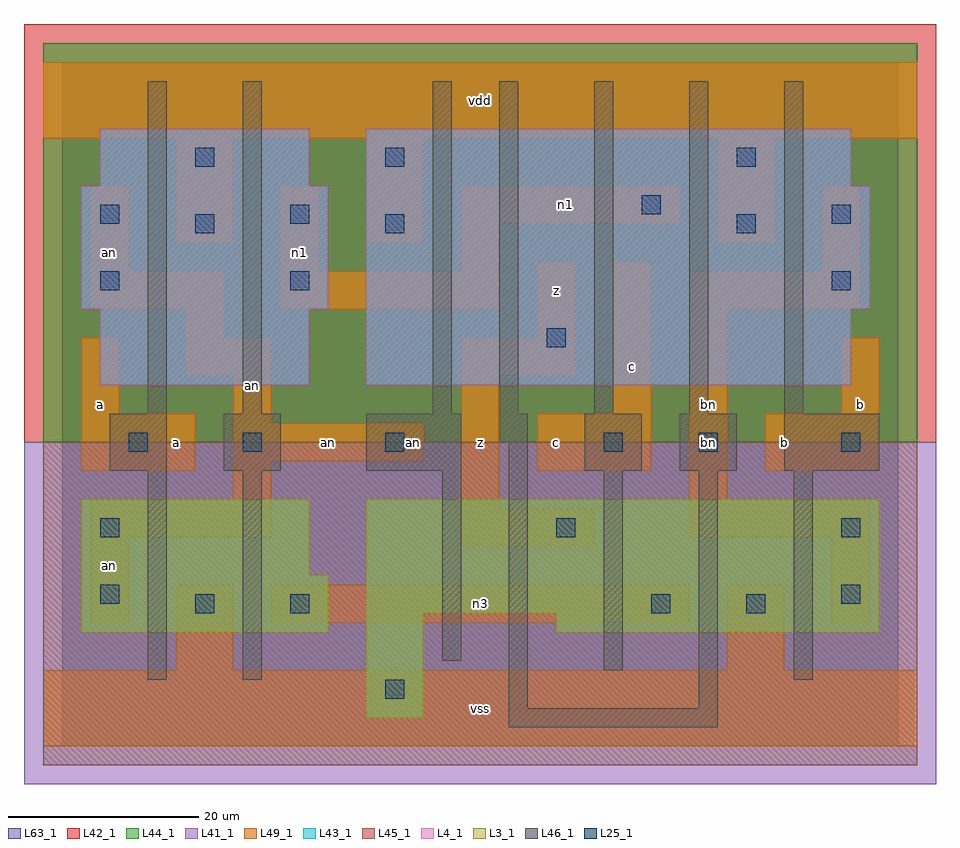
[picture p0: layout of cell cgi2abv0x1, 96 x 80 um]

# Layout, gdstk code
import gdstk
lib = gdstk.Library(unit=1e-6, precision=1e-09)
def R(c, l, rs):  # rectangles x0, y0, x1, y1
    for r in rs: c.add(gdstk.rectangle(r[:2], r[2:], *l))
def A(c, l, x, y, w, h, nx, ny, dx, dy):  # array of equal rectangles
    R(c, l, [(x+i*dx, y+j*dy, x+i*dx+w, y+j*dy+h) for i in range(nx) for j in range(ny)])
L3_1 = (3, 1)
L4_1 = (4, 1)
L25_1 = (25, 1)
L41_1 = (41, 1)
L42_1 = (42, 1)
L43_1 = (43, 1)
L44_1 = (44, 1)
L45_1 = (45, 1)
L46_1 = (46, 1)
L49_1 = (49, 1)
L63_1 = (63, 1)

cgi2abv0x1 = lib.new_cell('cgi2abv0x1')
R(cgi2abv0x1, L3_1, [(32,3,38,14), (2,12,28,18), (52,12,86,14), (32,14,86,26), (2,18,26,26)])
R(cgi2abv0x1, L4_1, [(4,38,26,46), (32,38,83,46), (2,46,28,59), (32,46,85,59), (4,59,26,65), (32,59,83,65)])
R(cgi2abv0x1, L25_1, [(34,5,36,7), (14,14,16,16), (24,14,26,16), (62,14,64,16), (72,14,74,16), (4,15,6,17), (82,15,84,17), (4,22,6,24), (52,22,54,24), (82,22,84,24), (7,31,9,33), (19,31,21,33), (34,31,36,33), (57,31,59,33), (67,31,69,33), (82,31,84,33), (51,42,53,44), (4,48,6,50), (24,48,26,50), (81,48,83,50), (14,54,16,56), (34,54,36,56), (71,54,73,56), (4,55,6,57), (24,55,26,57), (81,55,83,57), (61,56,63,58), (14,61,16,63), (34,61,36,63), (71,61,73,63)])
R(cgi2abv0x1, L41_1, [(-4,-4,92,32)])
R(cgi2abv0x1, L42_1, [(-4,32,92,76)])
R(cgi2abv0x1, L43_1, [(32,3,38,14), (2,12,28,18), (52,12,86,14), (32,14,86,26), (2,18,26,26), (4,38,26,46), (32,38,83,46), (2,46,28,59), (32,46,85,59), (4,59,26,65), (32,59,83,65)])
R(cgi2abv0x1, L44_1, [(-2,32,90,74)])
R(cgi2abv0x1, L45_1, [(-2,-2,90,32)])
A(cgi2abv0x1, L46_1, 46, 35, 2, 35, 4, 1, 10, 0)
R(cgi2abv0x1, L46_1, [(47,2,69,4), (47,4,49,32), (67,4,69,29), (9,7,11,29), (19,7,21,29), (77,7,79,29), (57,8,59,29), (40,9,42,29), (5,29,11,35), (17,29,23,35), (32,29,42,35), (55,29,61,35), (65,29,71,35), (76,29,86,35), (46,32,49,35), (9,35,11,70), (19,35,21,70), (39,35,41,70)])
R(cgi2abv0x1, L49_1, [(-2,0,90,8), (12,8,18,17), (70,8,76,17), (3,13,7,22), (22,13,66,17), (81,13,85,22), (42,21,56,25), (3,22,22,26), (66,22,85,26), (42,25,46,39), (18,26,22,30), (66,26,70,46), (2,29,14,35), (50,29,62,35), (74,29,86,35), (18,30,38,34), (18,34,22,39), (2,35,6,43), (58,35,62,51), (82,35,86,43), (13,39,22,43), (42,39,54,43), (13,43,17,46), (50,43,54,51), (3,46,17,50), (23,46,46,50), (66,46,84,50), (3,50,7,59), (23,50,27,59), (42,50,46,55), (80,50,84,59), (12,53,18,64), (32,53,38,64), (69,53,75,64), (42,55,65,59), (-2,64,90,72)])
R(cgi2abv0x1, L63_1, [(0,0,88,72)])
cgi2abv0x1.add(gdstk.Label('an', (20,38), layer=46, texttype=1))
cgi2abv0x1.add(gdstk.Label('an', (37,32), layer=46, texttype=1))
cgi2abv0x1.add(gdstk.Label('bn', (68,32), layer=49, texttype=1))
cgi2abv0x1.add(gdstk.Label('an', (5,19), layer=49, texttype=1))
cgi2abv0x1.add(gdstk.Label('a', (12,32), layer=49, texttype=1))
cgi2abv0x1.add(gdstk.Label('a', (4,36), layer=49, texttype=1))
cgi2abv0x1.add(gdstk.Label('an', (5,52), layer=49, texttype=1))
cgi2abv0x1.add(gdstk.Label('an', (28,32), layer=49, texttype=1))
cgi2abv0x1.add(gdstk.Label('n1', (25,52), layer=49, texttype=1))
cgi2abv0x1.add(gdstk.Label('vss', (44,4), layer=49, texttype=1))
cgi2abv0x1.add(gdstk.Label('n3', (44,15), layer=49, texttype=1))
cgi2abv0x1.add(gdstk.Label('z', (44,32), layer=49, texttype=1))
cgi2abv0x1.add(gdstk.Label('c', (52,32), layer=49, texttype=1))
cgi2abv0x1.add(gdstk.Label('c', (60,40), layer=49, texttype=1))
cgi2abv0x1.add(gdstk.Label('z', (52,48), layer=49, texttype=1))
cgi2abv0x1.add(gdstk.Label('n1', (53,57), layer=49, texttype=1))
cgi2abv0x1.add(gdstk.Label('vdd', (44,68), layer=49, texttype=1))
cgi2abv0x1.add(gdstk.Label('b', (76,32), layer=49, texttype=1))
cgi2abv0x1.add(gdstk.Label('b', (84,36), layer=49, texttype=1))
cgi2abv0x1.add(gdstk.Label('bn', (68,36), layer=49, texttype=1))

lib.write_gds('cgi2abv0x1.gds')
